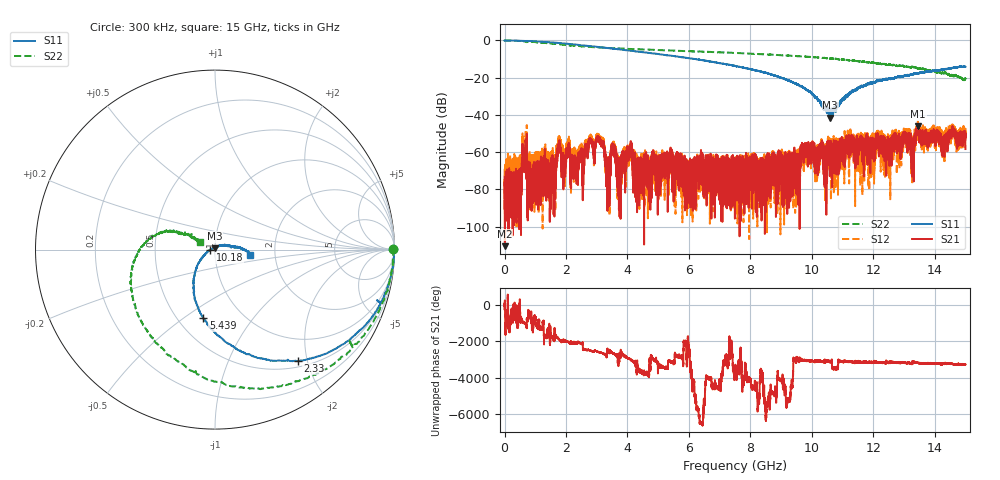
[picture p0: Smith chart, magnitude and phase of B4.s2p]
!Agilent Technologies,N5230C,SG49000117,A.08.50.07
!Agilent N5230C: A.08.50.07
!Date: Monday, December 11, 2023 21:27:32
!Correction: S11(Full 2 Port(1,2))
!S21(Full 2 Port(1,2))
!S12(Full 2 Port(1,2))
!S22(Full 2 Port(1,2))
!S2P File: Measurements: S11, S21, S12, S22:
# Hz S  RI  R 50
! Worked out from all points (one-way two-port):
!   20001 points, 300 kHz to 15 GHz, reference 50 ohm
!   highest |S21| = -46.05 dB at 13.46 GHz (marker M1); lowest = -110.5 dB at 8.55 MHz (marker M2)
!   lowest |S11| = -41.4 dB at 10.6 GHz (marker M3), VSWR 1.02, Z = 49.8 + j0.828 ohm
!   |S11| at or under -10 dB: 6.206332 GHz to 6.206474 GHz (142 kHz wide, 0.00229 % of centre); 6.218405 GHz to 6.219371 GHz (966.8 kHz wide, 0.0155 % of centre); 6.22 GHz to end of sweep (the widest 3 of 5)
!   |S22| runs from -21.4 to 0.0 dB; largest |S21 - S12| = 0.0035
!   S11 on the Smith chart (normalised r, x): 300 kHz: open; 2.33 GHz: 0.59, -1.83; 5.439 GHz: 0.66, -0.60; 10.18 GHz: 0.95, -0.00; 15 GHz: 1.48, -0.10
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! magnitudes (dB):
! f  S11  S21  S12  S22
! 300 kHz  -0.1  -73.3  -69.0  -0.1
! 8.55 MHz  0.0  -110.5  -77.4  -0.1
! 474.3 MHz  -0.1  -81.4  -67.1  -0.3
! 647.5 MHz  -0.2  -62.3  -61.7  -0.4
! 836.5 MHz  -0.3  -74.5  -68.3  -0.7
! 1.762 GHz  -1.4  -57.9  -55.0  -2.0
! 2.33 GHz  -2.2  -65.0  -63.6  -2.8
! 2.501 GHz  -2.6  -64.3  -59.1  -3.1
! 3.054 GHz  -3.5  -51.9  -52.2  -3.7
! 3.356 GHz  -4.1  -67.6  -70.1  -4.0
! 3.537 GHz  -4.4  -57.5  -56.4  -4.1
! 3.719 GHz  -4.7  -67.8  -64.6  -4.2
! 4.064 GHz  -5.5  -63.2  -61.5  -4.6
! 5 GHz  -7.3  -67.7  -81.2  -5.2
! 5.439 GHz  -8.2  -67.7  -71.9  -5.4
! 7.5 GHz  -13.7  -71.5  -70.3  -6.7
! 10 GHz  -28.5  -59.8  -61.5  -8.9
! 10.18 GHz  -31.3  -63.8  -59.5  -9.1
! 10.6 GHz  -41.4  -64.5  -59.2  -9.8
! 12.5 GHz  -20.5  -53.2  -60.9  -13.1
! 13.46 GHz  -17.7  -46.0  -49.1  -15.3
! 15 GHz  -14.1  -58.3  -53.6  -20.2
